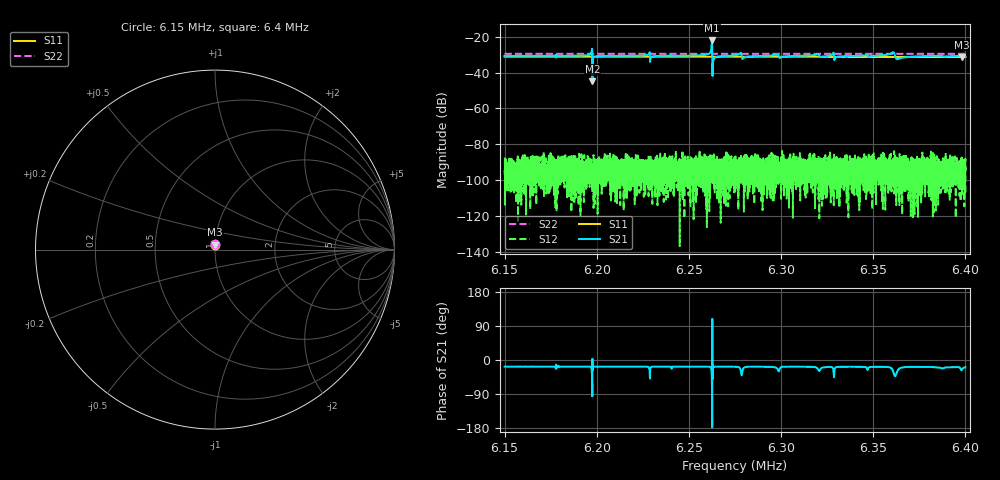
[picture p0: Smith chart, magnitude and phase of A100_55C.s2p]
!CETC41,AV3656A,ZGL00048,1.3.2
!Calibration ON (Full Solt 2-Port(Omit Isolation))
!Measurements: S11 S21 S12 S22
!2025-04-18 23:14
# Hz  S  dB  R 50.000
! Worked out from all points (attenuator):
!   6401 points, 6.15 MHz to 6.4 MHz, reference 50 ohm
!   highest |S21| = -22.09 dB at 6.2625 MHz (marker M1); lowest = -44.9 dB at 6.1976 MHz (marker M2)
!   lowest |S11| = -31.3 dB at 6.3979 MHz (marker M3), VSWR 1.06, Z = 49.9 + j2.72 ohm
!   |S11| at or under -10 dB: start of sweep to end of sweep
!   |S22| runs from -29.6 to -29.5 dB; largest |S21 - S12| = 0.079
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6150000  -31.08 84.5  -30.68 -17.4  -97.13 145.9  -29.49 91.2
6191680  -31.11 85.5  -30.51 -17.4  -85.49 117.1  -29.50 92.1
6196289  -31.10 85.6  -29.97 -17.7  -95.81 114.1  -29.50 92.2
6197617  -31.12 85.6  -44.87 -78.5  -95.63 -68.7  -29.50 92.3
6198828  -31.12 85.6  -31.21 -17.5  -105.07 -33.5  -29.51 92.2
6233359  -31.15 86.4  -30.72 -17.5  -88.79 147.3  -29.51 93.0
6257813  -31.17 87.1  -30.22 -17.5  -107.25 153.6  -29.52 93.5
6261406  -31.17 87.1  -29.02 -18.2  -99.13 -2.0  -29.51 93.5
6262500  -31.18 87.2  -22.09 -73.0  -98.58 68.8  -29.51 93.7
6263945  -31.18 87.2  -31.89 -18.0  -99.56 26.6  -29.50 93.7
6265898  -31.17 87.2  -31.08 -17.6  -97.21 2.1  -29.52 93.7
6275000  -31.18 87.5  -30.36 -17.9  -91.70 173.8  -29.52 93.9
6277383  -31.19 87.5  -29.64 -19.8  -94.27 104.5  -29.51 93.9
6279961  -31.19 87.5  -31.72 -19.8  -101.32 7.5  -29.52 94.0
6316680  -31.22 88.5  -30.35 -18.1  -95.30 118.2  -29.51 94.8
6327422  -31.23 88.7  -30.20 -18.5  -96.77 -163.1  -29.53 95.0
6329961  -31.23 88.7  -31.43 -18.7  -91.67 -32.2  -29.52 95.0
6358359  -31.26 89.4  -29.80 -18.9  -95.22 101.1  -29.53 95.6
6360586  -31.26 89.5  -28.69 -26.9  -89.43 13.9  -29.53 95.6
6363555  -31.26 89.5  -32.45 -25.6  -102.58 129.2  -29.52 95.6
6397930  -31.30 90.3  -30.99 -26.9  -93.83 130.8  -29.54 96.4
6400000  -31.29 90.4  -31.17 -19.4  -94.10 -82.2  -29.54 96.4
